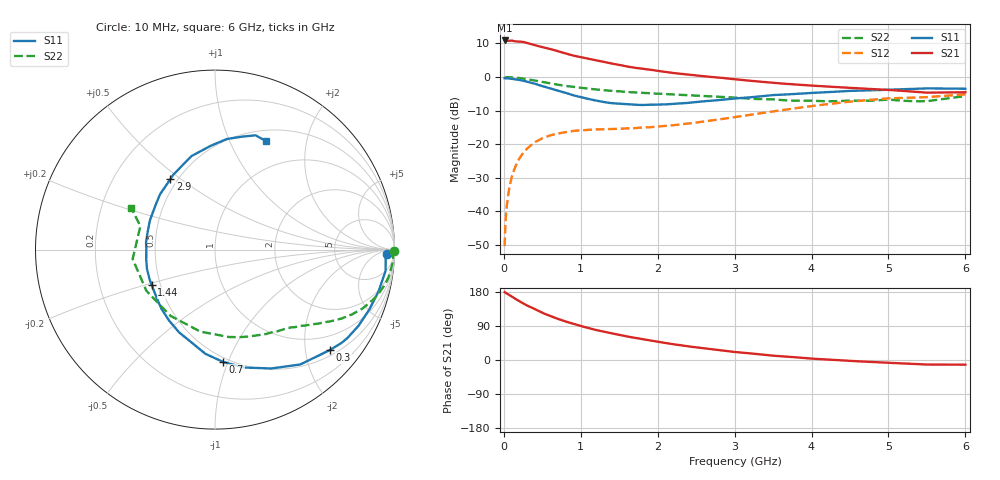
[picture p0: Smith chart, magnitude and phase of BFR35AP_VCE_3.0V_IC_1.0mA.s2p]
! Infineon Technologies  Discrete & RF Semiconductors
! BFR35AP
! VCE =  3.0 V,  IC =  1.0 mA
! Common Emitter S-Parameters:  Nov 2015
# GHz  S  MA  R  50
!  f  S11  S21  S12  S22
! GHz  MAG  ANG  MAG  ANG  MAG  ANG  MAG  ANG
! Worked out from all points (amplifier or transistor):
!   210 points, 10 MHz to 6 GHz, reference 50 ohm
!   highest |S21| = 10.9 dB at 10 MHz (marker M1)
!   |S21| within 3 dB of that: start of sweep to 674.8 MHz
!   unconditionally stable (mu >= 1): 1.415 GHz to 4.421 GHz; 4.641 GHz to 4.999 GHz; 5 GHz to end of sweep
!   at 185 MHz: K = 0.15, MSG = 17.8 dB, |S12| = -25.0 dB
!   at 1.52 GHz: K = 1.05, MAG = 8.1 dB, |S12| = -15.4 dB
!   at 6 GHz: K = 1.04, MAG = -0.8 dB, |S12| = -5.2 dB
!   S11 on the Smith chart (normalised r, x): 10 MHz: 35, -19; 300 MHz: 0.63, -2.54; 700 MHz: 0.47, -0.96; 1.44 GHz: 0.45, -0.21; 2.9 GHz: 0.46, +0.46; 6 GHz: 0.63, +1.38
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0.01  0.9567 -1.4  3.505 179.2  0.003 90.5  0.9999 -0.6
0.02  0.9522 -2.8  3.457 177.5  0.0063 89.0  0.9864 -1.2
0.035  0.9544 -4.9  3.455 175.8  0.0108 86.0  0.991 -2.2
0.06  0.9532 -8.4  3.462 172.9  0.0185 83.7  0.9939 -3.7
0.09  0.9429 -12.8  3.487 169.3  0.028 81.8  0.9885 -5.5
0.155  0.9204 -21.8  3.393 160.6  0.0474 76.2  0.9768 -9.6
0.24  0.8874 -33.6  3.344 150.8  0.0707 69.3  0.9502 -14.1
0.3  0.8513 -41.0  3.223 144.0  0.0851 64.8  0.9265 -17.3
0.5  0.7327 -64.7  2.794 124.4  0.1219 52.6  0.8445 -25.3
0.6  0.6771 -76.0  2.627 116.1  0.1344 47.6  0.804 -28.5
0.7  0.6273 -85.9  2.437 108.7  0.1434 43.8  0.7677 -31.1
0.82  0.5722 -96.9  2.214 100.5  0.1517 39.8  0.7317 -33.7
1.02  0.4953 -115.3  1.953 88.6  0.161 35.4  0.6858 -37.4
1.2  0.4451 -132.0  1.769 79.1  0.1651 33.0  0.6512 -40.6
1.44  0.404 -150.8  1.557 68.7  0.1681 32.2  0.6166 -44.5
2.02  0.3873 166.2  1.225 47.4  0.1834 35.6  0.5623 -54.6
2.9  0.4648 122.4  0.952 23.7  0.2422 41.5  0.4989 -77.7
3.1  0.4866 115.9  0.902 19.4  0.2624 41.3  0.4831 -84.6
4.1  0.5855 90.7  0.732 2.5  0.3802 34.2  0.438 -128.8
5.1  0.6508 75.6  0.631 -8.3  0.4835 19.0  0.4504 -178.0
5.5  0.6757 70.5  0.584 -12.0  0.5009 11.9  0.4358 162.6
6  0.6682 64.7  0.592 -12.3  0.5507 7.3  0.5199 153.6
